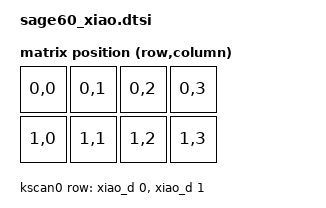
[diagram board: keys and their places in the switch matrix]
/*
 * Copyright (c) 2023 Diwamoto_
 *
 * SPDX-License-Identifier: MIT
 */

#include <dt-bindings/zmk/matrix_transform.h>

#include <layouts/diwamoto/sage60-layouts.dtsi>

/ {
    chosen {
        zmk,physical-layout = &diwamoto_sage60_layout;
    };

    default_transform: keymap_transform_0 {
        compatible = "zmk,matrix-transform";
        columns = <4>;
        rows = <2>;
        // | SW1  | SW2  |    |  SW3  | SW4  |
        // | SW5  | SW6  |    |  SW7  | SW8  |
        map = <
            RC(0,0) RC(0,1) RC(0,2) RC(0,3)
            RC(1,0) RC(1,1) RC(1,2) RC(1,3)
        >;
    };

    kscan0: kscan {
        compatible = "zmk,kscan-gpio-matrix";
        wakeup-source;

        diode-direction = "col2row";
        row-gpios
            = <&xiao_d 0 (GPIO_ACTIVE_HIGH | GPIO_PULL_DOWN)> /* D0 */
            , <&xiao_d 1 (GPIO_ACTIVE_HIGH | GPIO_PULL_DOWN)> /* D1 */
            ;
    };
};

&diwamoto_sage60_layout {
    transform = <&default_transform>;
};
